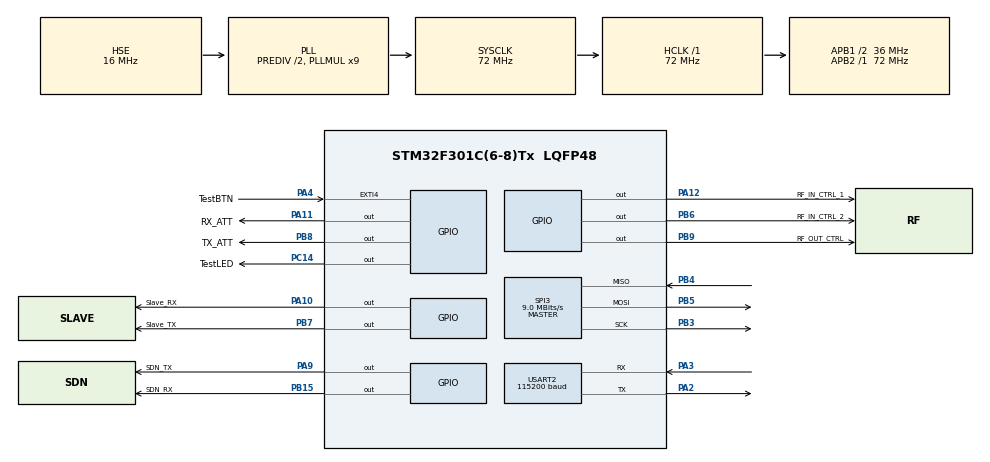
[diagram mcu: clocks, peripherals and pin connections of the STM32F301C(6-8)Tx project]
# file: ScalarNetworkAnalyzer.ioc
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Mcu.Family=STM32F3
Mcu.Name=STM32F301C(6-8)Tx
Mcu.Package=LQFP48
NVIC.PriorityGroup=NVIC_PRIORITYGROUP_4
NVIC.USART2_IRQn=true\:0\:0\:false\:false\:true\:true\:true
PA10.GPIO_Label=Slave_RX
PA10.PinState=GPIO_PIN_SET
PA10.Signal=GPIO_Output
PA11.GPIO_Label=RX_ATT
PA11.PinState=GPIO_PIN_SET
PA11.Signal=GPIO_Output
PA12.GPIO_Label=RF_IN_CTRL_1
PA12.Signal=GPIO_Output
PA13.Mode=Serial_Wire
PA13.Signal=SYS_JTMS-SWDIO
PA14.Mode=Serial_Wire
PA14.Signal=SYS_JTCK-SWCLK
PA2.Mode=Asynchronous
PA2.Signal=USART2_TX
PA3.Mode=Asynchronous
PA3.Signal=USART2_RX
PA4.GPIO_Label=TestBTN
PA4.Signal=GPXTI4
PA9.GPIO_Label=SDN_TX
PA9.GPIO_Speed=GPIO_SPEED_FREQ_LOW
PA9.PinState=GPIO_PIN_RESET
PA9.Signal=GPIO_Output
PB15.GPIO_Label=SDN_RX
PB15.Signal=GPIO_Output
PB3.Mode=Full_Duplex_Master
PB3.Signal=SPI3_SCK
PB4.Mode=Full_Duplex_Master
PB4.Signal=SPI3_MISO
PB5.Mode=Full_Duplex_Master
PB5.Signal=SPI3_MOSI
PB6.GPIO_Label=RF_IN_CTRL_2
PB6.Signal=GPIO_Output
PB7.GPIO_Label=Slave_TX
PB7.PinState=GPIO_PIN_SET
PB7.Signal=GPIO_Output
PB8.GPIO_Label=TX_ATT
PB8.PinState=GPIO_PIN_SET
PB8.Signal=GPIO_Output
PB9.GPIO_Label=RF_OUT_CTRL
PB9.Signal=GPIO_Output
PC14\ -\ OSC32_IN.GPIO_Label=TestLED
PC14\ -\ OSC32_IN.PinState=GPIO_PIN_RESET
PC14\ -\ OSC32_IN.Signal=GPIO_Output
PF0-OSC_IN.Mode=HSE-External-Oscillator
PF0-OSC_IN.Signal=RCC_OSC_IN
PF1-OSC_OUT.Mode=HSE-External-Oscillator
PF1-OSC_OUT.Signal=RCC_OSC_OUT
ProjectManager.HeapSize=0x200
ProjectManager.StackSize=0x400
ProjectManager.TargetToolchain=STM32CubeIDE
RCC.AHBFreq_Value=72000000
RCC.APB1CLKDivider=RCC_HCLK_DIV2
RCC.APB1Freq_Value=36000000
RCC.APB1TimFreq_Value=72000000
RCC.APB2Freq_Value=72000000
RCC.APB2TimFreq_Value=72000000
RCC.CortexFreq_Value=72000000
RCC.HCLKFreq_Value=72000000
RCC.HSE_Timout=100
RCC.HSE_VALUE=16000000
RCC.HSI_VALUE=8000000
RCC.LSE_VALUE=32768
RCC.PLLMUL=RCC_PLL_MUL9
RCC.PLLSourceVirtual=RCC_PLLSOURCE_HSE
RCC.RCC_PLLsource_Clock_Source_FROM_HSE=RCC_HSE_PREDIV_DIV2
RCC.SYSCLKFreq_VALUE=72000000
RCC.SYSCLKSourceVirtual=RCC_SYSCLKSOURCE_PLLCLK
SPI3.BaudRatePrescaler=SPI_BAUDRATEPRESCALER_4
SPI3.CLKPhase=SPI_PHASE_1EDGE
SPI3.CLKPolarity=SPI_POLARITY_LOW
SPI3.CalculateBaudRate=9.0 MBits/s
SPI3.DataSize=SPI_DATASIZE_8BIT
SPI3.Direction=SPI_DIRECTION_2LINES
SPI3.FirstBit=SPI_FIRSTBIT_MSB
SPI3.Mode=SPI_MODE_MASTER
SPI3.VirtualType=VM_MASTER
USART2.BaudRate=115200
USART2.VirtualMode-Asynchronous=VM_ASYNC
board=custom

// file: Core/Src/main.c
/* USER CODE BEGIN Header */
/**
  ******************************************************************************
  * @file           : main.c
  * @brief          : Main program body
  ******************************************************************************
  * @attention
  *
  * <h2><center>&copy; Copyright (c) 2021 STMicroelectronics.
  * All rights reserved.</center></h2>
  *
  * This software component is licensed by ST under BSD 3-Clause license,
  * the "License"; You may not use this file except in compliance with the
  * License. You may obtain a copy of the License at:
  *                        opensource.org/licenses/BSD-3-Clause
  *
  ******************************************************************************
  */
/* USER CODE END Header */
#include "main.h"
#include "spi.h"
#include "usart.h"
#include "gpio.h"

/* USER CODE BEGIN Includes */
#include <stdio.h>
#include "statemachine.h"
#include "control.h"
#include "si446x.h"

/* USER CODE END Includes */

/* USER CODE BEGIN PV */
uint32_t startFreq = 119000000;
uint32_t stopFreq = 960000000;
uint32_t resolution = 10000;
statemachine_t sm;
si446x_t transmitter;
si446x_t receiver;

uint8_t Buffer[4] = {0};
uint8_t CMDBuffer;
uint32_t BufferData;

/* USER CODE END PV */

void SystemClock_Config(void);
/* USER CODE BEGIN PFP */

void BlinkLED(uint16_t time)
{
	HAL_GPIO_WritePin(TestLED_GPIO_Port, TestLED_Pin, GPIO_PIN_SET);
	HAL_Delay(time);
	HAL_GPIO_WritePin(TestLED_GPIO_Port, TestLED_Pin, GPIO_PIN_RESET);
}

/* USER CODE END PFP */

int main(void)
{

  /* MCU Configuration--------------------------------------------------------*/

  /* Reset of all peripherals, Initializes the Flash interface and the Systick. */
  HAL_Init();

  /* Configure the system clock */
  SystemClock_Config();

  /* Initialize all configured peripherals */
  MX_GPIO_Init();
  MX_SPI3_Init();
  MX_USART2_UART_Init();
  /* USER CODE BEGIN 2 */

  StateMachine_Init(&sm, State_WaitingForCommand, &huart2);
  HAL_Delay(1);
  Control_Init();
  Si446x_Init(&transmitter, Slave_TX_GPIO_Port, Slave_TX_Pin, SDN_TX_GPIO_Port, SDN_TX_Pin, &hspi3, 29997500, OOK);
  Si446x_Init(&receiver, Slave_RX_GPIO_Port, Slave_RX_Pin, SDN_RX_GPIO_Port, SDN_RX_Pin, &hspi3, 29997500, OOK);

  HAL_UART_Receive_IT(sm.huart, &CMDBuffer, 1);

//  Si446x_SetFrequency(&transmitter, 915000000);
////  Si446x_SetFrequency(&receiver, 915000000);
//  Si446x_StartTX(&transmitter);

  uint32_t freq_buffer = Si446x_GetFrequency(&transmitter);
  uint8_t mod_buffer = Si446x_GetModulationType(&transmitter);
  uint8_t band_buffer = Si446x_GetBand(&transmitter);
  uint8_t pwr_lvl_buffer = Si446x_GetPowerLevel(&transmitter);
  uint8_t rssi = Si446x_GetRSSI(&receiver);

  /* USER CODE END 2 */

  /* Infinite loop */
  while (1)
  {

    /* USER CODE BEGIN 3 */

//	  SP4T_SelectInput(0);
//
//	  for (int i = 0; i < 2; i++)
//	  {
//		SP4T_SelectInput(i);
////		DPDT_SelectInput(i);
//	  }

	  switch (sm.state){
	  	  case State_WaitingForCommand:
	  		  WaitingForCommand(&sm);
	  		  break;
	  	  case State_GettingStartFrequency:
	  		  GettingStartFrequency(&sm);
	  		  break;
	  	  case State_GettingStopFrequency:
	  		  GettingStopFrequency(&sm);
	  		  break;
	  	  case State_StartMeasurement:
	  		  StartMeasurement(&sm);
	  		  break;
	  	  case State_Measuring:
	  		  Measuring(&sm);
	  		  break;
	  	  default:
	  		  WaitingForCommand(&sm);
	  		  break;
	  }
  }
  /* USER CODE END 3 */
}

void SystemClock_Config(void)
{
  RCC_OscInitTypeDef RCC_OscInitStruct = {0};
  RCC_ClkInitTypeDef RCC_ClkInitStruct = {0};

  /** Initializes the RCC Oscillators according to the specified parameters
  * in the RCC_OscInitTypeDef structure.
  */
  RCC_OscInitStruct.OscillatorType = RCC_OSCILLATORTYPE_HSE;
  RCC_OscInitStruct.HSEState = RCC_HSE_ON;
  RCC_OscInitStruct.HSEPredivValue = RCC_HSE_PREDIV_DIV2;
  RCC_OscInitStruct.HSIState = RCC_HSI_ON;
  RCC_OscInitStruct.PLL.PLLState = RCC_PLL_ON;
  RCC_OscInitStruct.PLL.PLLSource = RCC_PLLSOURCE_HSE;
  RCC_OscInitStruct.PLL.PLLMUL = RCC_PLL_MUL9;
  if (HAL_RCC_OscConfig(&RCC_OscInitStruct) != HAL_OK)
  {
    Error_Handler();
  }
  /** Initializes the CPU, AHB and APB buses clocks
  */
  RCC_ClkInitStruct.ClockType = RCC_CLOCKTYPE_HCLK|RCC_CLOCKTYPE_SYSCLK
                              |RCC_CLOCKTYPE_PCLK1|RCC_CLOCKTYPE_PCLK2;
  RCC_ClkInitStruct.SYSCLKSource = RCC_SYSCLKSOURCE_PLLCLK;
  RCC_ClkInitStruct.AHBCLKDivider = RCC_SYSCLK_DIV1;
  RCC_ClkInitStruct.APB1CLKDivider = RCC_HCLK_DIV2;
  RCC_ClkInitStruct.APB2CLKDivider = RCC_HCLK_DIV1;

  if (HAL_RCC_ClockConfig(&RCC_ClkInitStruct, FLASH_LATENCY_2) != HAL_OK)
  {
    Error_Handler();
  }
}

/* USER CODE BEGIN 4 */

void HAL_UART_RxCpltCallback(UART_HandleTypeDef* huart)
{
	if(huart->Instance == USART2)
	{
		BufferData = (Buffer[3] << 24) + (Buffer[2] << 16) + (Buffer[1] << 8) + Buffer[0];
		//HAL_GPIO_TogglePin(LD3_GPIO_Port, LD3_Pin);

		if(sm.state == State_WaitingForCommand)
		{

			if(CMDBuffer == GET_START_FREQUENCY_CMD)
			{
				HAL_GPIO_WritePin(TestLED_GPIO_Port, TestLED_Pin, GPIO_PIN_SET);
				sm.state = State_GettingStartFrequency;
				HAL_UART_Receive_IT(sm.huart, Buffer, 4);
				return;
			}
			if(CMDBuffer == GET_STOP_FREQUENCY_CMD)
			{
				HAL_GPIO_WritePin(TestLED_GPIO_Port, TestLED_Pin, GPIO_PIN_SET);
				sm.state = State_GettingStopFrequency;
				HAL_UART_Receive_IT(sm.huart, Buffer, 4);
				return;
			}
			if(CMDBuffer == GET_RESOLUTION_CMD)
			{
				HAL_GPIO_WritePin(TestLED_GPIO_Port, TestLED_Pin, GPIO_PIN_SET);
				sm.state = State_GettingResolution;
				HAL_UART_Receive_IT(sm.huart, Buffer, 4);
				return;
			}
			if(CMDBuffer == START_MEASUREMENT_CMD)
			{
				sm.state = State_StartMeasurement;
				HAL_UART_Receive_IT(sm.huart, &CMDBuffer, 1);
				return;
			}
		}
		if(sm.state == State_GettingStartFrequency)
		{
			startFreq = BufferData;
			HAL_GPIO_WritePin(TestLED_GPIO_Port, TestLED_Pin, GPIO_PIN_RESET);
			sm.state = State_WaitingForCommand;
			HAL_UART_Receive_IT(sm.huart, &CMDBuffer, 1);
			return;
		}
		if(sm.state == State_GettingStopFrequency)
		{
			stopFreq = BufferData;
			HAL_GPIO_WritePin(TestLED_GPIO_Port, TestLED_Pin, GPIO_PIN_RESET);
			sm.state = State_WaitingForCommand;
			HAL_UART_Receive_IT(sm.huart, &CMDBuffer, 1);
			return;
		}
		if(sm.state == State_GettingResolution)
		{
			resolution = BufferData;
			HAL_GPIO_WritePin(TestLED_GPIO_Port, TestLED_Pin, GPIO_PIN_RESET);
			sm.state = State_WaitingForCommand;
			HAL_UART_Receive_IT(sm.huart, &CMDBuffer, 1);
			return;
		}

	}
}

/* USER CODE END 4 */

void Error_Handler(void)
{
  __disable_irq();
  while (1)
  {
  }
}

/************************ (C) COPYRIGHT STMicroelectronics *****END OF FILE****/
